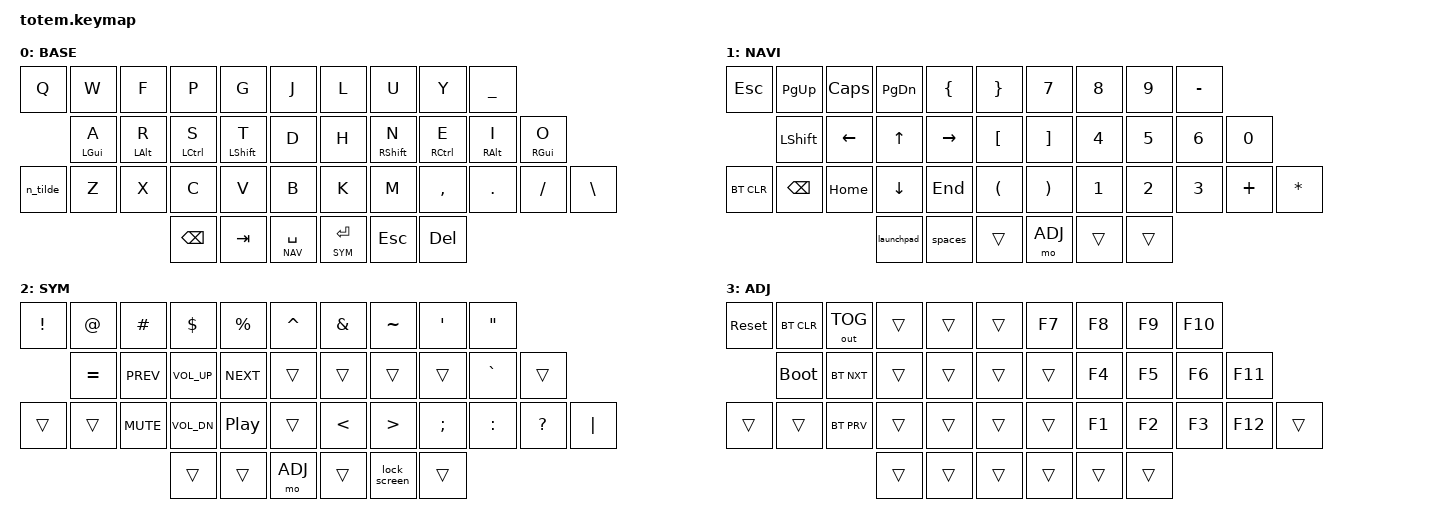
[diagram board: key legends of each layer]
// ▄▄▄▄▄▄▄▄▄▄▄▄▄▄▄▄▄▄▄▄▄▄▄▄▄▄▄▄▄▄▄▄▄▄▄▄▄▄▄▄▄▄▄▄▄▄▄▄▄▄▄▄▄▄▄▄▄▄▄▄▄▄▄▄▄▄▄▄▄▄▄▄▄▄▄▄▄▄▄▄▄▄▄▄▄▄▄▄▄▄▄▄▄▄▄▄▄▄▄▄▄▄▄▄▄▄▄▄▄▄▄▄▄▄▄▄▄▄▄▄▄▄▄▄▄▄▄▄▄▄▄▄▄▄▄▄▄▄▄▄▄▄▄▄▄▄▄▄▄▄▄▄▄▄▄▄▄▄▄▄▄▄▄▄▄▄▄▄▄▄▄▄▄
//
//                                                                     ▀▀▀▀▀     ▀▀▀▀▀          ▀▀█▀▀
//                                                                     ▄▀▀▀▄  ▄  ▄▀▀▀▄  ▄  ▄▀▀▀▄  █  ▄▀▀▀▄
//                                                                     █   █  █  █   █  █  █   █  █  █   █
//                                                                      ▀▀▀   █   ▀▀▀   █   ▀▀▀   ▀   ▀▀▀
//                                                                            █      ▄▄▄█▄▄▄    █   █
//                                                                            ▀      █  █  █     █▄█
//                                                                          ▀▀▀▀▀    █  █  █      ▀
//                                                                                   ▀  ▀  ▀
//
// ▄▄▄▄▄▄▄▄▄▄▄▄▄▄▄▄▄▄▄▄▄▄▄▄▄▄▄▄▄▄▄▄▄▄▄▄▄▄▄▄▄▄▄▄▄▄▄▄▄▄▄▄▄▄▄▄▄▄▄▄▄▄▄▄▄▄▄▄▄▄▄▄▄▄▄▄▄▄▄▄▄▄▄▄▄▄▄▄▄▄▄▄▄▄▄▄▄▄▄▄▄▄▄▄▄▄▄▄▄▄▄▄▄▄▄▄▄▄▄▄▄▄▄▄▄▄▄▄▄▄▄▄▄▄▄▄▄▄▄▄▄▄▄▄▄▄▄▄▄▄▄▄▄▄▄▄▄▄▄▄▄▄▄▄▄▄▄▄▄▄▄▄▄

#include <behaviors.dtsi>
#include <dt-bindings/zmk/keys.h>
#include <dt-bindings/zmk/bt.h>
#include <dt-bindings/zmk/outputs.h>

#define BASE 0
#define NAV  1
#define SYM  2
#define ADJ  3

&lt {
    tapping-term-ms = <150>;
    flavor = "balanced";
};

&mt {
    quick-tap-ms = <110>;
    global-quick-tap;
    flavor = "balanced";
    tapping-term-ms = <210>;
};

/ {
     combos {
            compatible = "zmk,combos";
            combo_esc {
                timeout-ms = <50>;
                key-positions = <0 1>;
                bindings = <&kp ESC>;
            };
    };

    macros {
        n_tilde: n_tilde {
            label = "n_tilde";
            compatible = "zmk,behavior-macro";
            #binding-cells = <0>;
            bindings = <&macro_press &kp LALT>,
                       <&macro_tap &kp N>,
                       <&macro_release &kp LALT>,
                       <&macro_tap &kp N>;
        };

        lock_screen: lock_screen {
            label = "lock_screen";
            compatible = "zmk,behavior-macro";
            #binding-cells = <0>;
            bindings = <&macro_press &kp LGUI>,
                       <&macro_press &kp LCTRL>,
                       <&macro_tap &kp Q>,
                       <&macro_release &kp LGUI>,
                       <&macro_release &kp LCTRL>;
        };

        launchpad: launchpad {
            label = "launchpad";
            compatible = "zmk,behavior-macro";
            #binding-cells = <0>;
            bindings = <&macro_press &kp LCTRL>,
                       <&macro_press &kp LALT>,
                       <&macro_press &kp LGUI>,
                       <&macro_tap &kp L>,
                       <&macro_release &kp LGUI>,
                       <&macro_release &kp LALT>,
                       <&macro_release &kp LCTRL>;
        };

        spaces: spaces {
            label = "spaces";
            compatible = "zmk,behavior-macro";
            #binding-cells = <0>;
            bindings = <&macro_press &kp LCTRL>,
                       <&macro_tap &kp UP>,
                       <&macro_release &kp LCTRL>;
        };
    };

        keymap {
                compatible = "zmk,keymap";

// ▄▄▄▄▄▄▄▄▄▄▄▄▄▄▄▄▄▄▄▄▄▄▄▄▄▄▄▄▄▄▄▄▄▄▄▄▄▄▄▄▄▄▄▄▄▄▄▄▄▄▄▄▄▄▄▄▄▄▄▄▄▄▄▄▄▄▄▄▄▄▄▄▄▄▄▄▄▄▄▄▄▄▄▄▄▄▄▄▄▄▄▄▄▄▄▄▄▄▄▄▄▄▄▄▄▄▄▄▄▄▄▄▄▄▄▄▄▄▄▄▄▄▄▄▄▄▄▄▄▄▄▄▄▄▄▄▄▄▄▄▄▄▄▄▄▄▄▄▄▄▄▄▄▄▄▄▄▄▄▄▄▄▄▄▄▄▄▄▄▄▄▄▄

                base_layer { label = "BASE";

//               ┏━━━━━━━━━━━━━┳━━━━━━━━━━━━━┳━━━━━━━━━━━━━┳━━━━━━━━━━━━━┳━━━━━━━━━━━━━┓   ┏━━━━━━━━━━━━━┳━━━━━━━━━━━━━┳━━━━━━━━━━━━━┳━━━━━━━━━━━━━┳━━━━━━━━━━━━━┓
//               ┃      Q      ┃      W      ┃      F      ┃      P      ┃      G      ┃   ┃      J      ┃      L      ┃      U      ┃      Y      ┃      _      ┃
//               ┣━━━━━━━━━━━━━╋━━━━━━━━━━━━━╋━━━━━━━━━━━━━╋━━━━━━━━━━━━━╋━━━━━━━━━━━━━┫   ┣━━━━━━━━━━━━━╋━━━━━━━━━━━━━╋━━━━━━━━━━━━━╋━━━━━━━━━━━━━╋━━━━━━━━━━━━━┫
//               ┃      A      ┃      R      ┃      S      ┃      T      ┃      D      ┃   ┃      H      ┃      N      ┃      E      ┃      I      ┃      O      ┃
// ┏━━━━━━━━━━━━━╋━━━━━━━━━━━━━╋━━━━━━━━━━━━━╋━━━━━━━━━━━━━╋━━━━━━━━━━━━━╋━━━━━━━━━━━━━┫   ┣━━━━━━━━━━━━━╋━━━━━━━━━━━━━╋━━━━━━━━━━━━━╋━━━━━━━━━━━━━╋━━━━━━━━━━━━━╋━━━━━━━━━━━━━┓
// ┃      Ñ      ┃      Z      ┃      X      ┃      C      ┃      V      ┃      B      ┃   ┃      K      ┃      M      ┃      ,      ┃      .      ┃      /      ┃      \      ┃
// ┗━━━━━━━━━━━━━┻━━━━━━━━━━━━━┻━━━━━━━━━━━━━╋━━━━━━━━━━━━━╋━━━━━━━━━━━━━╋━━━━━━━━━━━━━┫   ┣━━━━━━━━━━━━━╋━━━━━━━━━━━━━╋━━━━━━━━━━━━━╋━━━━━━━━━━━━━┻━━━━━━━━━━━━━┻━━━━━━━━━━━━━┛
//                                           ┃  BACKSPACE  ┃     TAB     ┃ NAV     SPC ┃   ┃ SYM   ENTER ┃     ESC     ┃     DEL     ┃
//                                           ┗━━━━━━━━━━━━━┻━━━━━━━━━━━━━┻━━━━━━━━━━━━━┛   ┗━━━━━━━━━━━━━┻━━━━━━━━━━━━━┻━━━━━━━━━━━━━┛

 bindings = <     &kp Q         &kp W         &kp F         &kp P         &kp G             &kp J         &kp L         &kp U         &kp Y         &kp UNDER
                  &mt LGUI A    &mt LALT R    &mt LCTRL S   &mt LSHFT T   &kp D             &kp H         &mt RSHFT N   &mt RCTRL E   &mt RALT I    &mt RGUI O
    &n_tilde      &kp Z         &kp X         &kp C         &kp V         &kp B             &kp K         &kp M         &kp COMMA     &kp DOT       &kp FSLH      &kp BSLH
                                              &kp BSPC      &kp TAB       &lt NAV SPACE     &lt SYM RET   &kp ESC       &kp DEL >;
                };
// ▄▄▄▄▄▄▄▄▄▄▄▄▄▄▄▄▄▄▄▄▄▄▄▄▄▄▄▄▄▄▄▄▄▄▄▄▄▄▄▄▄▄▄▄▄▄▄▄▄▄▄▄▄▄▄▄▄▄▄▄▄▄▄▄▄▄▄▄▄▄▄▄▄▄▄▄▄▄▄▄▄▄▄▄▄▄▄▄▄▄▄▄▄▄▄▄▄▄▄▄▄▄▄▄▄▄▄▄▄▄▄▄▄▄▄▄▄▄▄▄▄▄▄▄▄▄▄▄▄▄▄▄▄▄▄▄▄▄▄▄▄▄▄▄▄▄▄▄▄▄▄▄▄▄▄▄▄▄▄▄▄▄▄▄▄▄▄▄▄▄▄▄▄

                nav_layer { label= "NAVI";

//               ┏━━━━━━━━━━━━━┳━━━━━━━━━━━━━┳━━━━━━━━━━━━━┳━━━━━━━━━━━━━┳━━━━━━━━━━━━━┓   ┏━━━━━━━━━━━━━┳━━━━━━━━━━━━━┳━━━━━━━━━━━━━┳━━━━━━━━━━━━━┳━━━━━━━━━━━━━┓
//               ┃     ESC     ┃   PAGE UP   ┃    C LOCK   ┃  PAGE DOWN  ┃      {      ┃   ┃      }      ┃      7      ┃      8      ┃      9      ┃      -      ┃
//               ┣━━━━━━━━━━━━━╋━━━━━━━━━━━━━╋━━━━━━━━━━━━━╋━━━━━━━━━━━━━╋━━━━━━━━━━━━━┫   ┣━━━━━━━━━━━━━╋━━━━━━━━━━━━━╋━━━━━━━━━━━━━╋━━━━━━━━━━━━━╋━━━━━━━━━━━━━┫
//               ┃    SHIFT    ┃    LEFT     ┃      UP     ┃    RIGHT    ┃      [      ┃   ┃      ]      ┃      4      ┃      5      ┃      6      ┃      0      ┃
// ┏━━━━━━━━━━━━━╋━━━━━━━━━━━━━╋━━━━━━━━━━━━━╋━━━━━━━━━━━━━╋━━━━━━━━━━━━━╋━━━━━━━━━━━━━┫   ┣━━━━━━━━━━━━━╋━━━━━━━━━━━━━╋━━━━━━━━━━━━━╋━━━━━━━━━━━━━╋━━━━━━━━━━━━━╋━━━━━━━━━━━━━┓
// ┃   BT_CLR    ┃  BACKSPACE  ┃    HOME     ┃     DOWN    ┃     END     ┃      (      ┃   ┃      )      ┃      1      ┃      2      ┃      3      ┃      +      ┃      *      ┃
// ┗━━━━━━━━━━━━━┻━━━━━━━━━━━━━┻━━━━━━━━━━━━━╋━━━━━━━━━━━━━╋━━━━━━━━━━━━━╋━━━━━━━━━━━━━┫   ┣━━━━━━━━━━━━━╋━━━━━━━━━━━━━╋━━━━━━━━━━━━━╋━━━━━━━━━━━━━┻━━━━━━━━━━━━━┻━━━━━━━━━━━━━┛
//                                           ┃  LAUNCHPAD  ┃    SPACES   ┃             ┃   ┃     ADJ     ┃             ┃             ┃
//                                           ┗━━━━━━━━━━━━━┻━━━━━━━━━━━━━┻━━━━━━━━━━━━━┛   ┗━━━━━━━━━━━━━┻━━━━━━━━━━━━━┻━━━━━━━━━━━━━┛

 bindings = <     &kp ESC       &kp PG_UP     &kp CAPS      &kp PG_DN     &kp LBRC          &kp RBRC      &kp N7        &kp N8        &kp N9        &kp MINUS
                  &kp LSHFT     &kp LEFT      &kp UP        &kp RIGHT     &kp LBKT          &kp RBKT      &kp N4        &kp N5        &kp N6        &kp N0
    &bt BT_CLR    &kp BSPC      &kp HOME      &kp DOWN      &kp END       &kp LPAR          &kp RPAR      &kp N1        &kp N2        &kp N3        &kp PLUS      &kp ASTERISK
                                              &launchpad    &spaces       &trans            &mo ADJ       &trans        &trans >;
                };
// ▄▄▄▄▄▄▄▄▄▄▄▄▄▄▄▄▄▄▄▄▄▄▄▄▄▄▄▄▄▄▄▄▄▄▄▄▄▄▄▄▄▄▄▄▄▄▄▄▄▄▄▄▄▄▄▄▄▄▄▄▄▄▄▄▄▄▄▄▄▄▄▄▄▄▄▄▄▄▄▄▄▄▄▄▄▄▄▄▄▄▄▄▄▄▄▄▄▄▄▄▄▄▄▄▄▄▄▄▄▄▄▄▄▄▄▄▄▄▄▄▄▄▄▄▄▄▄▄▄▄▄▄▄▄▄▄▄▄▄▄▄▄▄▄▄▄▄▄▄▄▄▄▄▄▄▄▄▄▄▄▄▄▄▄▄▄▄▄▄▄▄▄▄

                sim_layer { label = "SYM";

//               ┏━━━━━━━━━━━━━┳━━━━━━━━━━━━━┳━━━━━━━━━━━━━┳━━━━━━━━━━━━━┳━━━━━━━━━━━━━┓   ┏━━━━━━━━━━━━━┳━━━━━━━━━━━━━┳━━━━━━━━━━━━━┳━━━━━━━━━━━━━┳━━━━━━━━━━━━━┓
//               ┃      !      ┃      @      ┃      #      ┃      $      ┃      %      ┃   ┃      ˆ      ┃      &      ┃      ˜      ┃      '      ┃      "      ┃
//               ┣━━━━━━━━━━━━━╋━━━━━━━━━━━━━╋━━━━━━━━━━━━━╋━━━━━━━━━━━━━╋━━━━━━━━━━━━━┫   ┣━━━━━━━━━━━━━╋━━━━━━━━━━━━━╋━━━━━━━━━━━━━╋━━━━━━━━━━━━━╋━━━━━━━━━━━━━┫
//               ┃      =      ┃    LAST     ┃    VOL+     ┃    NEXT     ┃             ┃   ┃             ┃             ┃             ┃      `      ┃             ┃
// ┏━━━━━━━━━━━━━╋━━━━━━━━━━━━━╋━━━━━━━━━━━━━╋━━━━━━━━━━━━━╋━━━━━━━━━━━━━╋━━━━━━━━━━━━━┫   ┣━━━━━━━━━━━━━╋━━━━━━━━━━━━━╋━━━━━━━━━━━━━╋━━━━━━━━━━━━━╋━━━━━━━━━━━━━╋━━━━━━━━━━━━━┓
// ┃             ┃             ┃    MUTE     ┃    VOL-     ┃ PLAY/PAUSE  ┃             ┃   ┃      <      ┃      >      ┃      ;      ┃      :      ┃      ?      ┃      |      ┃
// ┗━━━━━━━━━━━━━┻━━━━━━━━━━━━━┻━━━━━━━━━━━━━╋━━━━━━━━━━━━━╋━━━━━━━━━━━━━╋━━━━━━━━━━━━━┫   ┣━━━━━━━━━━━━━╋━━━━━━━━━━━━━╋━━━━━━━━━━━━━╋━━━━━━━━━━━━━┻━━━━━━━━━━━━━┻━━━━━━━━━━━━━┛
//                                           ┃             ┃             ┃     ADJ     ┃   ┃             ┃    LOCK     ┃             ┃
//                                           ┗━━━━━━━━━━━━━┻━━━━━━━━━━━━━┻━━━━━━━━━━━━━┛   ┗━━━━━━━━━━━━━┻━━━━━━━━━━━━━┻━━━━━━━━━━━━━┛

 bindings = <     &kp EXCL      &kp AT        &kp HASH      &kp DLLR      &kp PRCNT         &kp CARET     &kp AMPS      &kp TILDE     &kp SQT       &kp DQT
                  &kp EQUAL     &kp C_PREV    &kp C_VOL_UP  &kp C_NEXT    &trans            &trans        &trans        &trans        &kp GRAVE     &trans
    &trans        &trans        &kp C_MUTE    &kp C_VOL_DN  &kp C_PP      &trans            &kp LT        &kp GT        &kp SEMI      &kp COLON     &kp QUESTION  &kp PIPE
                                              &trans        &trans        &mo ADJ           &trans        &lock_screen  &trans >;
                };
// ▄▄▄▄▄▄▄▄▄▄▄▄▄▄▄▄▄▄▄▄▄▄▄▄▄▄▄▄▄▄▄▄▄▄▄▄▄▄▄▄▄▄▄▄▄▄▄▄▄▄▄▄▄▄▄▄▄▄▄▄▄▄▄▄▄▄▄▄▄▄▄▄▄▄▄▄▄▄▄▄▄▄▄▄▄▄▄▄▄▄▄▄▄▄▄▄▄▄▄▄▄▄▄▄▄▄▄▄▄▄▄▄▄▄▄▄▄▄▄▄▄▄▄▄▄▄▄▄▄▄▄▄▄▄▄▄▄▄▄▄▄▄▄▄▄▄▄▄▄▄▄▄▄▄▄▄▄▄▄▄▄▄▄▄▄▄▄▄▄▄▄▄▄

                adjust_layer { label = "ADJ";

//               ┏━━━━━━━━━━━━━┳━━━━━━━━━━━━━┳━━━━━━━━━━━━━┳━━━━━━━━━━━━━┳━━━━━━━━━━━━━┓   ┏━━━━━━━━━━━━━┳━━━━━━━━━━━━━┳━━━━━━━━━━━━━┳━━━━━━━━━━━━━┳━━━━━━━━━━━━━┓
//               ┃    RESET    ┃  BT CLEAR   ┃   OUT TOG   ┃             ┃             ┃   ┃             ┃     F7      ┃     F8      ┃     F9      ┃     F10     ┃
//               ┣━━━━━━━━━━━━━╋━━━━━━━━━━━━━╋━━━━━━━━━━━━━╋━━━━━━━━━━━━━╋━━━━━━━━━━━━━┫   ┣━━━━━━━━━━━━━╋━━━━━━━━━━━━━╋━━━━━━━━━━━━━╋━━━━━━━━━━━━━╋━━━━━━━━━━━━━┫
//               ┃   BOOTLOAD  ┃  BT NEXT    ┃             ┃             ┃             ┃   ┃             ┃     F4      ┃     F5      ┃     F6      ┃     F11     ┃
// ┏━━━━━━━━━━━━━╋━━━━━━━━━━━━━╋━━━━━━━━━━━━━╋━━━━━━━━━━━━━╋━━━━━━━━━━━━━╋━━━━━━━━━━━━━┫   ┣━━━━━━━━━━━━━╋━━━━━━━━━━━━━╋━━━━━━━━━━━━━╋━━━━━━━━━━━━━╋━━━━━━━━━━━━━╋━━━━━━━━━━━━━┓
// ┃             ┃             ┃  BT PREV    ┃             ┃             ┃             ┃   ┃             ┃     F1      ┃     F2      ┃     F3      ┃     F12     ┃             ┃
// ┗━━━━━━━━━━━━━┻━━━━━━━━━━━━━┻━━━━━━━━━━━━━╋━━━━━━━━━━━━━╋━━━━━━━━━━━━━╋━━━━━━━━━━━━━┫   ┣━━━━━━━━━━━━━╋━━━━━━━━━━━━━╋━━━━━━━━━━━━━╋━━━━━━━━━━━━━┻━━━━━━━━━━━━━┻━━━━━━━━━━━━━┛
//                                           ┃             ┃             ┃             ┃   ┃             ┃             ┃             ┃
//                                           ┗━━━━━━━━━━━━━┻━━━━━━━━━━━━━┻━━━━━━━━━━━━━┛   ┗━━━━━━━━━━━━━┻━━━━━━━━━━━━━┻━━━━━━━━━━━━━┛

 bindings = <     &sys_reset    &bt BT_CLR    &out OUT_TOG  &trans        &trans            &trans         &kp F7       &kp F8        &kp F9        &kp F10
                  &bootloader   &bt BT_NXT    &trans        &trans        &trans            &trans         &kp F4       &kp F5        &kp F6        &kp F11
    &trans        &trans        &bt BT_PRV    &trans        &trans        &trans            &trans         &kp F1       &kp F2        &kp F3        &kp F12       &trans
                                              &trans        &trans        &trans            &trans         &trans       &trans >;
                };
        };
};
